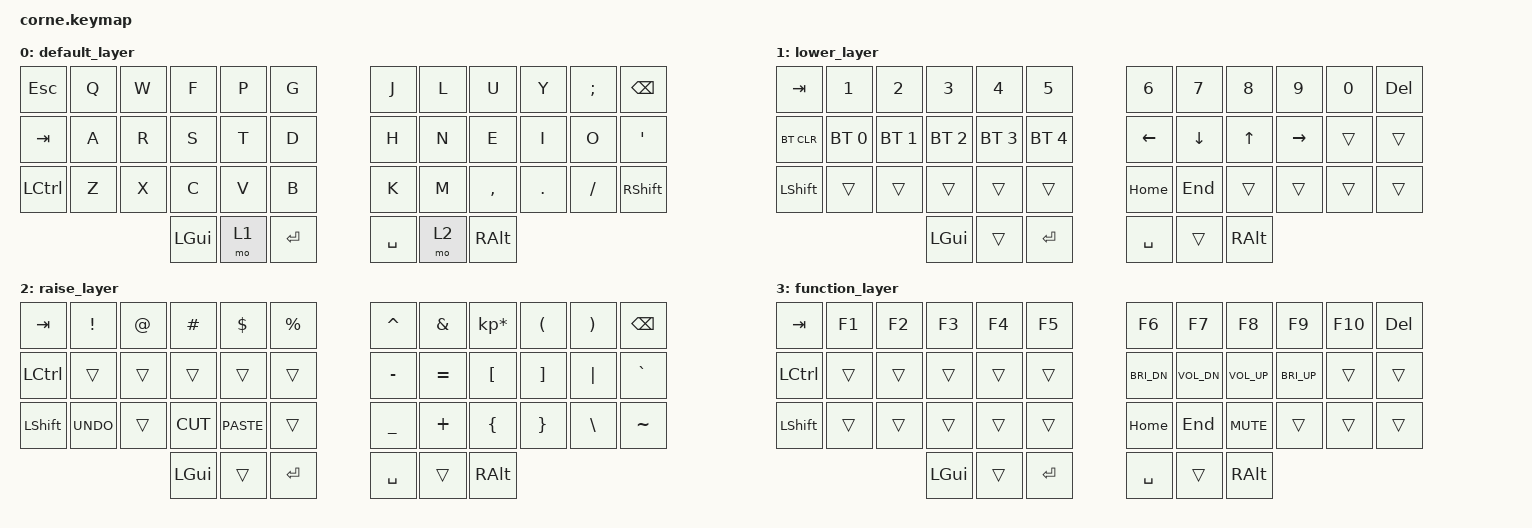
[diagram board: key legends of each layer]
/*
 * Copyright (c) 2020 The ZMK Contributors
 *
 * SPDX-License-Identifier: MIT
 */

#include <behaviors.dtsi>
#include <dt-bindings/zmk/keys.h>
#include <dt-bindings/zmk/bt.h>

/ {
        conditional_layers {
                compatible = "zmk,conditional-layers";
                tri_layer {
                    if-layers = <1 2>;
                    then-layer = <3>;
                };
            };
        keymap {
                compatible = "zmk,keymap";

                default_layer {
// -----------------------------------------------------------------------------------------
// |  ESC |  Q  |  W  |  E  |  R  |  T  |   |  Y  |  U   |  I  |  O  |  P  | BKSP |
// | TAB |  A  |  S  |  D  |  F  |  G  |   |  H  |  J   |  K  |  L  |  ;  |  '   |
// | CTRL |  Z  |  X  |  C  |  V  |  B  |   |  N  |  M   |  ,  |  .  |  /  | Shift  |
//                    | GUI | LWR | ENT |   | SPC | RSE  | ALT |
                        bindings = <
   &kp ESC   &kp Q &kp W &kp F &kp P &kp G   &kp J &kp L  &kp U     &kp Y   &kp SEMI    &kp BSPC
   &kp TAB &kp A &kp R &kp S &kp T &kp D   &kp H &kp N  &kp E     &kp I   &kp O    &kp SQT
   &kp LCTRL &kp Z &kp X &kp C &kp V &kp B   &kp K &kp M  &kp COMMA &kp DOT &kp FSLH &kp RSHIFT
                  &kp LGUI &mo 1 &kp RET   &kp SPACE &mo 2 &kp RALT
                        >;
                };
                lower_layer {
// -----------------------------------------------------------------------------------------
// |  TAB |  1  |  2  |  3  |  4  |  5  |   |  6   |  7  |  8  |  9  |  0  | DEL |
// | BTCLR| BT1 | BT2 | BT3 | BT4 | BT5 |   | LFT  | DWN |  UP | RGT |     |      |
// | SHFT |     |     |     |     |     |   | HOME | END |     |     |     |      |
//                    | GUI |     | ENT |   | SPC  |     | ALT |
                        bindings = <
   &kp TAB    &kp N1       &kp N2       &kp N3       &kp N4       &kp N5        &kp N6   &kp N7   &kp N8 &kp N9    &kp N0 &kp DEL
   &bt BT_CLR &bt BT_SEL 0 &bt BT_SEL 1 &bt BT_SEL 2 &bt BT_SEL 3 &bt BT_SEL 4  &kp LEFT &kp DOWN &kp UP &kp RIGHT &trans &trans
   &kp LSHFT  &trans       &trans       &trans       &trans       &trans        &kp HOME &kp END &trans &trans    &trans &trans
                          	        &kp LGUI     &trans       &kp RET       &kp SPACE  &trans   &kp RALT
                        >; 
                };

                raise_layer {
// -----------------------------------------------------------------------------------------
// |  TAB |  !  |  @  |  #  |  $  |  %  |   |  ^  |  &  |  *  |  (  |  )  | BKSP |
// | CTRL |     |     |     |     |     |   |  -  |  =  |  [  |  ]  |  "|"  |  `   |
// | SHFT | UNDO|     | CUT |PASTE|     |   |  _  |  +  |  {  |  }  |   \   |  ~   |
//                    | GUI |     | ENT |   | SPC |     | ALT |
                        bindings = <
   &kp  TAB  &kp EXCL   &kp AT &kp HASH  &kp DLLR    &kp PRCNT   &kp CARET &kp AMPS  &kp KP_MULTIPLY &kp LPAR &kp RPAR &kp BSPC
   &kp LCTRL &trans     &trans &trans    &trans      &trans       &kp MINUS &kp EQUAL &kp LBKT        &kp RBKT &kp PIPE &kp GRAVE
   &kp LSHFT &kp K_UNDO &trans &kp K_CUT &kp K_PASTE &trans      &kp UNDER &kp PLUS  &kp LBRC        &kp RBRC &kp BSLH &kp TILDE
                    	       &kp LGUI  &trans      &kp RET     &kp SPC   &trans    &kp RALT
                        >;
                };
                function_layer {
// -----------------------------------------------------------------------------------------
// |  TAB |  f1  |  f2  |  f3  |  f4  |  f5  |   |  f6     |  f7     |  f8      |  f9     |  f10  | BKSP  |
// | LCTRL|      |      |      |      |      |   | BRI_DN  | VOL_DN  |  VOL_UP  |  BRI_DN |      | PSCRN |
// | SHFT |      |      |      |      |      |   |         | HOME    | END      | MUTE    |      |       |
//                      | GUI  |      | ENT  |   | SPC     |         | ALT      |
                        bindings = <
   &kp TAB    &kp F1       &kp F2       &kp F3       &kp F4       &kp F5        &kp F6   &kp F7   &kp F8 &kp F9    &kp F10 &kp DEL
   &kp LCTRL  &trans  &trans  &trans    &trans       &trans  &kp C_BRI_DN &kp C_VOL_DN &kp C_VOL_UP &kp C_BRI_UP &trans  &trans
   &kp LSHFT  &trans  &trans  &trans    &trans       &trans  &kp HOME     &kp END      &kp C_MUTE   &trans       &trans  &trans
                              &kp LGUI  &trans       &kp RET &kp SPACE    &trans       &kp RALT
                        >; 
                };
        };
};
